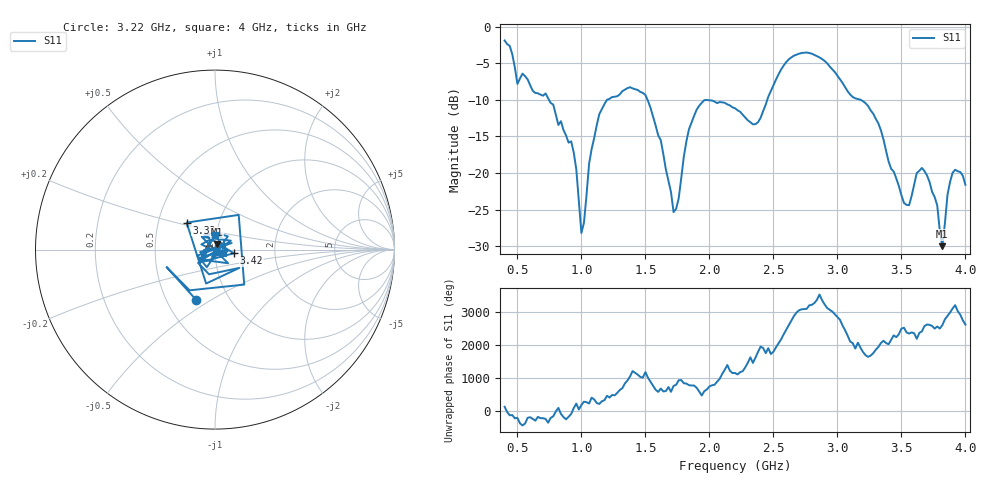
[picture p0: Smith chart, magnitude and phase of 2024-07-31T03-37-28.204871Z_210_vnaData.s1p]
!Created with skrf (http://scikit-rf.org).
# Hz S RI R 50.0
!freq ReS11 ImS11
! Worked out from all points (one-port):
!   181 points, 400 MHz to 4 GHz, reference 50 ohm
!   lowest |S11| = -30.0 dB at 3.82 GHz (marker M1), VSWR 1.07, Z = 50.9 + j3.07 ohm
!   |S11| at or under -10 dB: 746.2 MHz to 1.2 GHz (453.7 MHz wide, 46.6 % of centre); 1.516 GHz to 2.452 GHz (936 MHz wide, 47.2 % of centre); 3.181 GHz to end of sweep
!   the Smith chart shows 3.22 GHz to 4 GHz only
!   S11 on the Smith chart (normalised r, x): 3.22 GHz: 0.70, -0.43; 3.32 GHz: 0.70, +0.22; 3.42 GHz: 1.23, -0.05; 4 GHz: 0.99, +0.16
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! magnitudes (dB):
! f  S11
! 400 MHz  -1.9
! 500 MHz  -7.8
! 720 MHz  -9.1
! 860 MHz  -14.1
! 940 MHz  -17.2
! 1 GHz  -28.2
! 1.06 GHz  -18.8
! 1.14 GHz  -12.0
! 1.3 GHz  -9.3
! 1.5 GHz  -9.3
! 1.62 GHz  -15.5
! 1.72 GHz  -25.4
! 1.76 GHz  -23.5
! 1.82 GHz  -15.7
! 1.9 GHz  -11.4
! 2.2 GHz  -11.2
! 2.38 GHz  -13.1
! 2.66 GHz  -4.0
! 3.1 GHz  -9.3
! 3.22 GHz  -10.5
! 3.32 GHz  -13.2
! 3.42 GHz  -19.4
! 3.56 GHz  -24.4
! 3.68 GHz  -19.7
! 3.78 GHz  -24.4
! 3.82 GHz  -30.0
! 3.9 GHz  -20.0
! 4 GHz  -21.6
